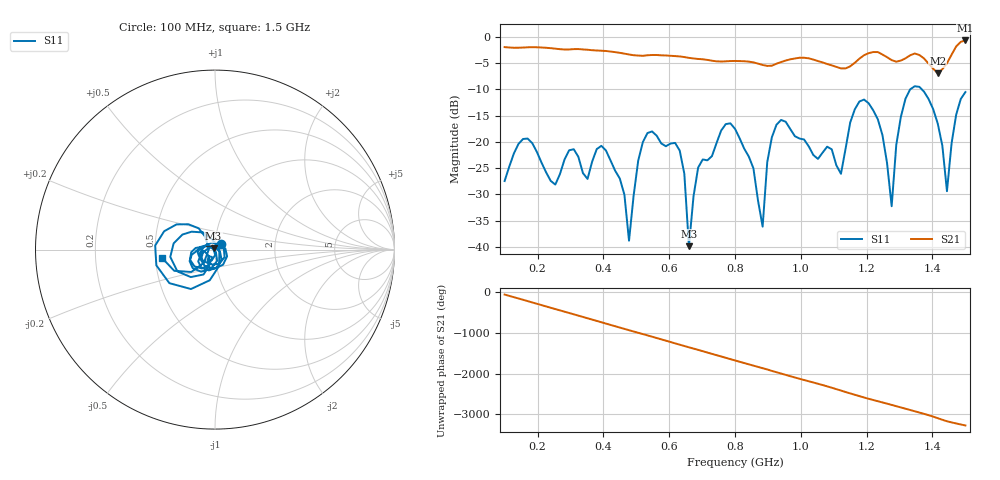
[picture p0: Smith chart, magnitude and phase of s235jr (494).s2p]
! NanoVNA-App
! Date: 2025-09-25 15:08:00
! Start: 100MHz Stop: 1,5GHz Points: 101
! S-Parameter data: F S11 S21 S12 S22
# Hz S RI R 50
!  Frequency  S11_Real  S11_Imag  S21_Real  S21_Imag  S12_Real  S12_Imag  S22_Real  S22_Imag
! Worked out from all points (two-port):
!   101 points, 100 MHz to 1.5 GHz, reference 50 ohm
!   highest |S21| = -0.70 dB at 1.5 GHz (marker M1); lowest = -6.9 dB at 1.416 GHz (marker M2)
!   |S21| within 3 dB of the highest: start of sweep to 623 MHz; 1.188 GHz to 1.257 GHz (68.81 MHz wide, 5.63 % of centre) (the widest 2 of 4)
!   lowest |S11| = -39.9 dB at 660 MHz (marker M3), VSWR 1.02, Z = 49.2 + j0.611 ohm
!   |S11| at or under -10 dB: start of sweep to 1.332 GHz; 1.367 GHz to end of sweep
!   S12 and S22 are empty: the file has one direction only
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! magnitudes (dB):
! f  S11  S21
! 100 MHz  -27.5  -2.0
! 156 MHz  -19.5  -2.0
! 338 MHz  -26.0  -2.4
! 408 MHz  -21.7  -2.7
! 478 MHz  -38.8  -3.4
! 520 MHz  -20.1  -3.6
! 576 MHz  -20.3  -3.5
! 632 MHz  -21.7  -3.7
! 660 MHz  -39.9  -4.0
! 688 MHz  -24.9  -4.2
! 800 MHz  -17.5  -4.6
! 884 MHz  -36.1  -5.4
! 926 MHz  -16.7  -5.1
! 1.038 GHz  -22.5  -4.3
! 1.122 GHz  -26.1  -6.0
! 1.192 GHz  -12.0  -3.5
! 1.248 GHz  -18.7  -3.4
! 1.276 GHz  -32.3  -4.4
! 1.332 GHz  -10.0  -3.5
! 1.416 GHz  -16.5  -6.9
! 1.444 GHz  -29.4  -5.0
! 1.5 GHz  -10.5  -0.7
